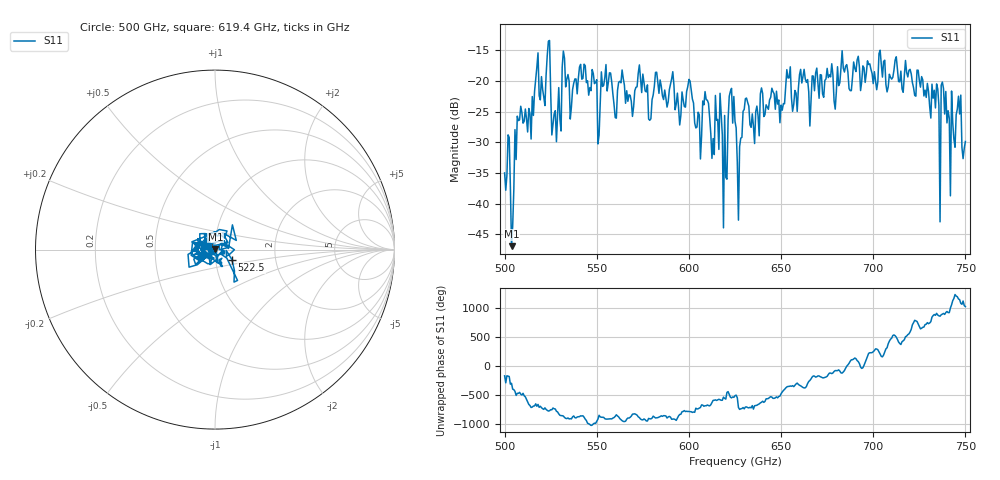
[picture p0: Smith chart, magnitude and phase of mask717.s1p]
!Created with skrf (http://scikit-rf.org).
# GHz S MA R 50.0
!freq magS11 angS11
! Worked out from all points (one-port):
!   401 points, 500 GHz to 750 GHz, reference 50 ohm
!   lowest |S11| = -46.9 dB at 503.8 GHz (marker M1), VSWR 1.01, Z = 50.2 + j0.399 ohm
!   |S11| at or under -10 dB: start of sweep to end of sweep
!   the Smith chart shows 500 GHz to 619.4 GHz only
!   S11 on the Smith chart (normalised r, x): 500 GHz: 0.97, -0.01; 522.5 GHz: 1.20, -0.14; 619.4 GHz: 0.91, +0.03
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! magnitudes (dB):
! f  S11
! 500 GHz  -35.0
! 503.8 GHz  -46.9
! 508.1 GHz  -26.4
! 522.5 GHz  -19.1
! 523.8 GHz  -13.6
! 526.9 GHz  -25.4
! 531.2 GHz  -17.7
! 550.6 GHz  -30.3
! 562.5 GHz  -20.1
! 593.8 GHz  -22.0
! 600 GHz  -19.8
! 605.6 GHz  -25.5
! 609.4 GHz  -23.1
! 612.5 GHz  -32.6
! 616.9 GHz  -22.0
! 619.4 GHz  -25.6
! 623.1 GHz  -21.2
! 625 GHz  -26.6
! 627.5 GHz  -30.7
! 630.6 GHz  -22.9
! 656.2 GHz  -25.0
! 687.5 GHz  -21.6
! 718.8 GHz  -19.4
! 735 GHz  -21.3
! 738.1 GHz  -21.3
! 743.1 GHz  -26.8
! 746.2 GHz  -22.5
! 750 GHz  -29.9
